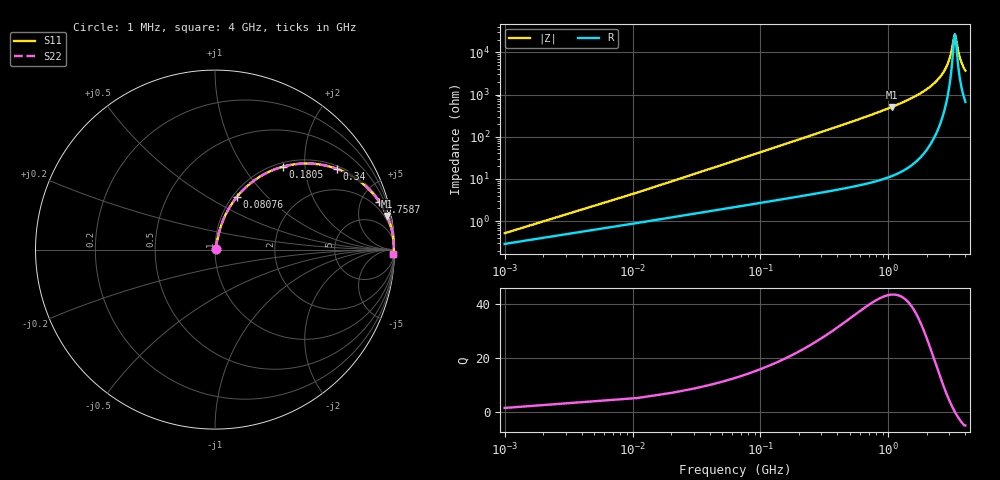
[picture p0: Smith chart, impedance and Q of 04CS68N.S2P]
! Coilcraft 0402CS-68N Chip Inductor
! 22 July 2002
# MHZ S MA R 50
!Freq  MagS11  AngS11  MagS21  AngS21  MagS12  AngS12  MagS22  AngS22
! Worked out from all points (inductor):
!   403 points, 1 MHz to 4 GHz, reference 50 ohm
!   read as one part in series: L = 68 nH near 20.94 MHz
!   highest Q = 43.5 at 1.068 GHz (marker M1), where L = 75.9 nH
!   self-resonance near 3.311 GHz
!   S11 on the Smith chart (normalised r, x): 1 MHz: 1.01, +0.01; 80.76 MHz: 1.05, +0.69; 180.5 MHz: 1.07, +1.55; 340 MHz: 1.10, +2.94; 758.7 MHz: 1.17, +6.84; 4 GHz: 14, -72
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1  0.005132 55.9  0.9971 -0.2  0.9971 -0.2  0.005132 55.9
30.91  0.1299 76.1  0.9769 -7.4  0.9769 -7.4  0.1299 76.1
50.85  0.2093 72.9  0.9595 -12.0  0.9595 -12.0  0.2093 72.9
80.76  0.3202 67.4  0.9252 -18.6  0.9252 -18.6  0.3202 67.4
120.64  0.4489 60.1  0.8683 -26.6  0.8683 -26.6  0.4489 60.1
180.46  0.5987 50.6  0.7734 -36.7  0.7734 -36.7  0.5987 50.6
339.98  0.8137 33.6  0.5539 -54.4  0.5539 -54.4  0.8137 33.6
479.56  0.8922 25.2  0.4261 -63.1  0.4261 -63.1  0.8922 25.2
668.99  0.9408 18.4  0.3156 -70.1  0.3156 -70.1  0.9408 18.4
758.72  0.9536 16.2  0.2786 -72.4  0.2786 -72.4  0.9536 16.2
1067.79  0.977 11.1  0.1918 -77.6  0.1918 -77.6  0.977 11.1
1336.98  0.9861 8.3  0.1445 -80.3  0.1445 -80.3  0.9861 8.3
2004.97  0.9946 4.2  0.07356 -83.7  0.07356 -83.7  0.9946 4.2
2672.96  0.9965 1.7  0.03056 -82.6  0.03056 -82.6  0.9965 1.7
2982.03  0.9966 0.8  0.01518 -76.5  0.01518 -76.5  0.9966 0.8
3121.61  0.9965 0.5  0.009058 -66.9  0.009058 -66.9  0.9965 0.5
3271.16  0.9963 0.1  0.004098 -25.6  0.004098 -25.6  0.9963 0.1
3340.95  0.9962 -0.1  0.003976 17.3  0.003976 17.3  0.9962 -0.1
3490.5  0.996 -0.4  0.008371 60.9  0.008371 60.9  0.996 -0.4
3610.14  0.9957 -0.7  0.0128 70.1  0.0128 70.1  0.9957 -0.7
3779.63  0.9953 -1.1  0.01909 75.3  0.01909 75.3  0.9953 -1.1
4000  0.9947 -1.5  0.02703 78.0  0.02703 78.0  0.9947 -1.5
